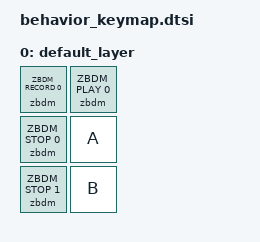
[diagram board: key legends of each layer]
/*
 * Copyright (c) 2026 The ZMK Behavior Dynamic Macro Contributors
 *
 * SPDX-License-Identifier: MIT
 */

#include <dt-bindings/zmk/keys.h>
#include <behaviors.dtsi>
#include <behaviors/zbdm.dtsi>
#include <dt-bindings/zmk/kscan_mock.h>
#include <dt-bindings/zmk/zbdm.h>

/ {
    keymap {
        compatible = "zmk,keymap";

        default_layer {
            bindings = <&zbdm ZBDM_RECORD 0 &zbdm ZBDM_PLAY 0
                        &zbdm ZBDM_STOP 0 &kp A
                        &zbdm ZBDM_STOP 1 &kp B>;
        };
    };
};
